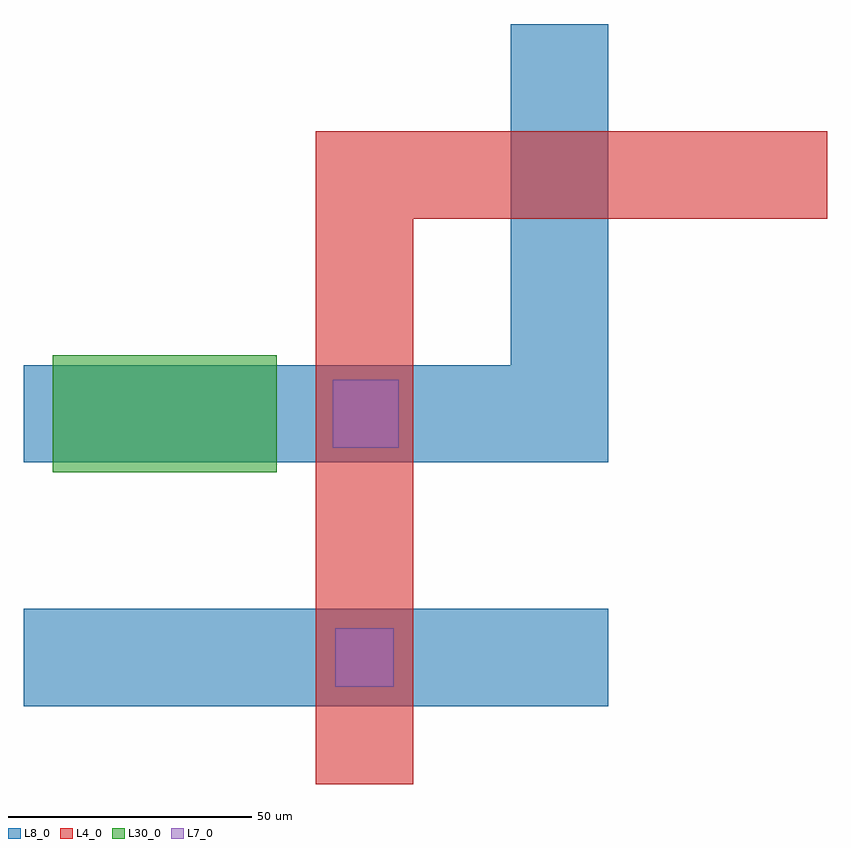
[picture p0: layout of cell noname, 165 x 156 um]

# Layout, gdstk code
import gdstk
lib = gdstk.Library(unit=1e-6, precision=1e-09)
def R(c, l, rs):  # rectangles x0, y0, x1, y1
    for r in rs: c.add(gdstk.rectangle(r[:2], r[2:], *l))
L4_0 = (4, 0)
L7_0 = (7, 0)
L8_0 = (8, 0)
L30_0 = (30, 0)

noname = lib.new_cell('noname')
R(noname, L4_0, [(40,-66,60,68), (40,50,145,68)])
R(noname, L7_0, [(44,-46,56,-34), (43.5,3,57,17)])
R(noname, L8_0, [(-20,-50,100,-30), (-20,0,100,20), (80,20,100,90)])
R(noname, L30_0, [(-14,-2,32,22)])

lib.write_gds('noname.gds')
